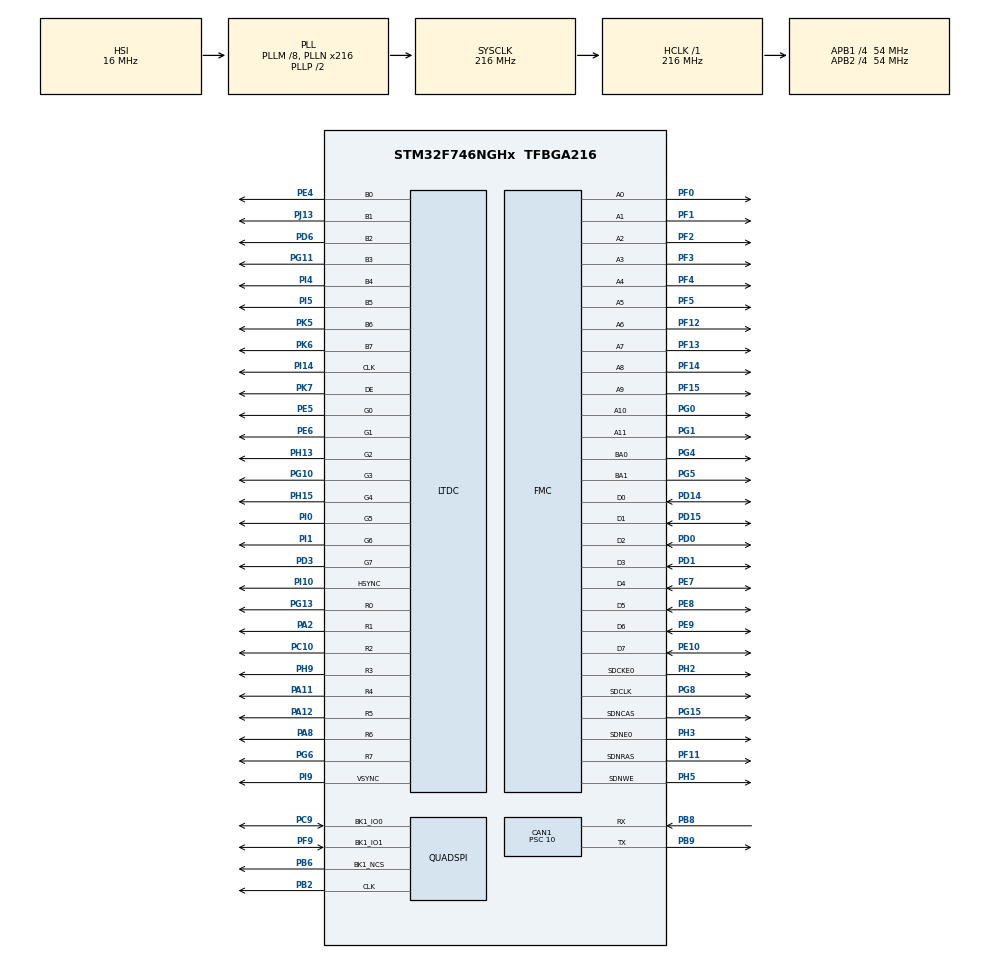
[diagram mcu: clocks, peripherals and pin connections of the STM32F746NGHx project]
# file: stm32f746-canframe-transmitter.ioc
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CAN1.BS1=CAN_BS1_8TQ
CAN1.BS2=CAN_BS2_2TQ
CAN1.CalculateTimeBit=2037
CAN1.CalculateTimeQuantum=185.1851851851852
CAN1.Prescaler=10
LTDC.ActiveH=272
LTDC.ActiveW=480
Mcu.Family=STM32F7
Mcu.Name=STM32F746NGHx
Mcu.Package=TFBGA216
NVIC.PriorityGroup=NVIC_PRIORITYGROUP_4
PA11.Mode=RGB888
PA11.Signal=LTDC_R4
PA12.Mode=RGB888
PA12.Signal=LTDC_R5
PA2.Mode=RGB888
PA2.Signal=LTDC_R1
PA8.Mode=RGB888
PA8.Signal=LTDC_R6
PB2.Mode=Single Bank 1 2IOs
PB2.Signal=QUADSPI_CLK
PB6.Mode=Single Bank 1 2IOs
PB6.Signal=QUADSPI_BK1_NCS
PB8.Mode=Master
PB8.Signal=CAN1_RX
PB9.Mode=Master
PB9.Signal=CAN1_TX
PC10.Mode=RGB888
PC10.Signal=LTDC_R2
PC9.Mode=Single Bank 1 2IOs
PC9.Signal=QUADSPI_BK1_IO0
PD0.Signal=FMC_D2_DA2
PD1.Signal=FMC_D3_DA3
PD14.Signal=FMC_D0_DA0
PD15.Signal=FMC_D1_DA1
PD3.Mode=RGB888
PD3.Signal=LTDC_G7
PD6.Mode=RGB888
PD6.Signal=LTDC_B2
PE10.Signal=FMC_D7_DA7
PE4.Mode=RGB888
PE4.Signal=LTDC_B0
PE5.Mode=RGB888
PE5.Signal=LTDC_G0
PE6.Mode=RGB888
PE6.Signal=LTDC_G1
PE7.Signal=FMC_D4_DA4
PE8.Signal=FMC_D5_DA5
PE9.Signal=FMC_D6_DA6
PF0.Signal=FMC_A0
PF1.Signal=FMC_A1
PF11.Signal=FMC_SDNRAS
PF12.Signal=FMC_A6
PF13.Signal=FMC_A7
PF14.Signal=FMC_A8
PF15.Signal=FMC_A9
PF2.Signal=FMC_A2
PF3.Signal=FMC_A3
PF4.Signal=FMC_A4
PF5.Signal=FMC_A5
PF9.Mode=Single Bank 1 2IOs
PF9.Signal=QUADSPI_BK1_IO1
PG0.Signal=FMC_A10
PG1.Signal=FMC_A11
PG10.Mode=RGB888
PG10.Signal=LTDC_G3
PG11.Mode=RGB888
PG11.Signal=LTDC_B3
PG13.Mode=RGB888
PG13.Signal=LTDC_R0
PG15.Signal=FMC_SDNCAS
PG4.Signal=FMC_A14_BA0
PG5.Signal=FMC_A15_BA1
PG6.Mode=RGB888
PG6.Signal=LTDC_R7
PG8.Signal=FMC_SDCLK
PH0/OSC_IN.Mode=HSE-External-Oscillator
PH0/OSC_IN.Signal=RCC_OSC_IN
PH1/OSC_OUT.Mode=HSE-External-Oscillator
PH1/OSC_OUT.Signal=RCC_OSC_OUT
PH13.Mode=RGB888
PH13.Signal=LTDC_G2
PH15.Mode=RGB888
PH15.Signal=LTDC_G4
PH2.Mode=SdramChipSelect1_1
PH2.Signal=FMC_SDCKE0
PH3.Mode=SdramChipSelect1_1
PH3.Signal=FMC_SDNE0
PH5.Signal=FMC_SDNWE
PH9.Mode=RGB888
PH9.Signal=LTDC_R3
PI0.Mode=RGB888
PI0.Signal=LTDC_G5
PI1.Mode=RGB888
PI1.Signal=LTDC_G6
PI10.Mode=RGB888
PI10.Signal=LTDC_HSYNC
PI14.Mode=RGB888
PI14.Signal=LTDC_CLK
PI4.Mode=RGB888
PI4.Signal=LTDC_B4
PI5.Mode=RGB888
PI5.Signal=LTDC_B5
PI9.Mode=RGB888
PI9.Signal=LTDC_VSYNC
PJ13.Mode=RGB888
PJ13.Signal=LTDC_B1
PK5.Mode=RGB888
PK5.Signal=LTDC_B6
PK6.Mode=RGB888
PK6.Signal=LTDC_B7
PK7.Mode=RGB888
PK7.Signal=LTDC_DE
ProjectManager.HeapSize=0x200
ProjectManager.StackSize=0x400
ProjectManager.TargetToolchain=TrueSTUDIO
RCC.AHBFreq_Value=216000000
RCC.APB1CLKDivider=RCC_HCLK_DIV4
RCC.APB1Freq_Value=54000000
RCC.APB1TimFreq_Value=108000000
RCC.APB2CLKDivider=RCC_HCLK_DIV4
RCC.APB2Freq_Value=54000000
RCC.APB2TimFreq_Value=108000000
RCC.CortexFreq_Value=216000000
RCC.HCLKFreq_Value=216000000
RCC.HSE_VALUE=25000000
RCC.HSI_VALUE=16000000
RCC.LSE_VALUE=32768
RCC.PLLM=8
RCC.PLLN=216
RCC.PLLQ=9
RCC.PLLSAIN=50
RCC.PLLSourceVirtual=RCC_PLLSOURCE_HSI
RCC.SDMMCClockSelection=RCC_SDMMC1CLKSOURCE_CLK48
RCC.SYSCLKFreq_VALUE=216000000
RCC.SYSCLKSource=RCC_SYSCLKSOURCE_PLLCLK
RCC.USBFreq_Value=48000000
RCC.VCOOutputFreq_Value=432000000
SH.FMC_A0.0=FMC_A0,12b-sda1
SH.FMC_A1.0=FMC_A1,12b-sda1
SH.FMC_A10.0=FMC_A10,12b-sda1
SH.FMC_A11.0=FMC_A11,12b-sda1
SH.FMC_A14_BA0.0=FMC_BA0,FourSdramBanks1
SH.FMC_A15_BA1.0=FMC_BA1,FourSdramBanks1
SH.FMC_A2.0=FMC_A2,12b-sda1
SH.FMC_A3.0=FMC_A3,12b-sda1
SH.FMC_A4.0=FMC_A4,12b-sda1
SH.FMC_A5.0=FMC_A5,12b-sda1
SH.FMC_A6.0=FMC_A6,12b-sda1
SH.FMC_A7.0=FMC_A7,12b-sda1
SH.FMC_A8.0=FMC_A8,12b-sda1
SH.FMC_A9.0=FMC_A9,12b-sda1
SH.FMC_D0_DA0.0=FMC_D0,sd-8b-d1
SH.FMC_D1_DA1.0=FMC_D1,sd-8b-d1
SH.FMC_D2_DA2.0=FMC_D2,sd-8b-d1
SH.FMC_D3_DA3.0=FMC_D3,sd-8b-d1
SH.FMC_D4_DA4.0=FMC_D4,sd-8b-d1
SH.FMC_D5_DA5.0=FMC_D5,sd-8b-d1
SH.FMC_D6_DA6.0=FMC_D6,sd-8b-d1
SH.FMC_D7_DA7.0=FMC_D7,sd-8b-d1
SH.FMC_SDCLK.0=FMC_SDCLK,12b-sda1
SH.FMC_SDNCAS.0=FMC_SDNCAS,12b-sda1
SH.FMC_SDNRAS.0=FMC_SDNRAS,12b-sda1
SH.FMC_SDNWE.0=FMC_SDNWE,12b-sda1
VP_DMA2D_VS_DMA2D.Mode=DMA2D_Activate
board=STM32F746G-DISCO

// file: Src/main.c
/**
  ******************************************************************************
  * File Name          : main.c
  * Description        : Main program body
  ******************************************************************************
  ** This notice applies to any and all portions of this file
  * that are not between comment pairs USER CODE BEGIN and
  * USER CODE END. Other portions of this file, whether
  * inserted by the user or by software development tools
  * are owned by their respective copyright owners.
  *
  * COPYRIGHT(c) 2019 STMicroelectronics
  *
  * Redistribution and use in source and binary forms, with or without modification,
  * are permitted provided that the following conditions are met:
  *   1. Redistributions of source code must retain the above copyright notice,
  *      this list of conditions and the following disclalast_transmissionr.
  *   2. Redistributions in binary form must reproduce the above copyright notice,
  *      this list of conditions and the following disclalast_transmissionr in the documentation
  *      and/or other materials provided with the distribution.
  *   3. Neither the name of STMicroelectronics nor the names of its contributors
  *      may be used to endorse or promote products derived from this software
  *      without specific prior written permission.
  *
  * THIS SOFTWARE IS PROVIDED BY THE COPYRIGHT HOLDERS AND CONTRIBUTORS "AS IS"
  * AND ANY EXPRESS OR IMPLIED WARRANTIES, INCLUDING, BUT NOT LIMITED TO, THE
  * IMPLIED WARRANTIES OF MERCHANTABILITY AND FITNESS FOR A PARTICULAR PURPOSE ARE
  * DISCLAlast_transmissionD. IN NO EVENT SHALL THE COPYRIGHT HOLDER OR CONTRIBUTORS BE LIABLE
  * FOR ANY DIRECT, INDIRECT, INCIDENTAL, SPECIAL, EXEMPLARY, OR CONSEQUENTIAL
  * DAMAGES (INCLUDING, BUT NOT LIMITED TO, PROCUREMENT OF SUBSTITUTE GOODS OR
  * SERVICES; LOSS OF USE, DATA, OR PROFITS; OR BUSINESS INTERRUPTION) HOWEVER
  * CAUSED AND ON ANY THEORY OF LIABILITY, WHETHER IN CONTRACT, STRICT LIABILITY,
  * OR TORT (INCLUDING NEGLIGENCE OR OTHERWISE) ARISING IN ANY WAY OUT OF THE USE
  * OF THIS SOFTWARE, EVEN IF ADVISED OF THE POSSIBILITY OF SUCH DAMAGE.
  *
  ******************************************************************************
  */

#include "main.h"
#include "stm32f7xx_hal.h"
#include "can.h"
#include "dma2d.h"
#include "ltdc.h"
#include "quadspi.h"
#include "gpio.h"
#include "fmc.h"

/* USER CODE BEGIN Includes */

#include "stm32746g_discovery.h"
#include "stm32746g_discovery_ts.h"
#include "stm32746g_discovery_lcd.h"
#include <string.h>
#include <stdio.h>

/* USER CODE END Includes */

/* USER CODE BEGIN PV */
/* Private variables ---------------------------------------------------------*/

static uint32_t cycle_time = 100;
static CanTxMsgTypeDef can_frame = { .StdId = 0x123, .DLC = 8 , .Data = { 0x01,0x02,0x03,0x04,0x05,0x06,0x07,0x08}};
static char text_buffer[100];
static char messages[9][100];
uint8_t transition = 0x00;
uint8_t state = 0x00;
uint32_t last_transmission = 0;

/* USER CODE END PV */

void SystemClock_Config(void);

/* USER CODE BEGIN PFP */
/* Private function prototypes -----------------------------------------------*/

void add_message(char * message)
{
	memmove(messages[0],messages[1],100);
	memmove(messages[1],messages[2],100);
	memmove(messages[2],messages[3],100);
	memmove(messages[3],messages[4],100);
	memmove(messages[4],messages[5],100);
	memmove(messages[5],messages[6],100);
	memmove(messages[6],messages[7],100);
	memmove(messages[7],messages[8],100);
	strcpy(messages[8],message);
}

/* USER CODE END PFP */

int main(void)
{

  /* USER CODE BEGIN 1 */
	 SCB->VTOR = (__IO uint32_t)0x08000000;

  /* USER CODE END 1 */

  /* MCU Configuration----------------------------------------------------------*/

  /* Reset of all peripherals, Initializes the Flash interface and the Systick. */
  HAL_Init();

  /* Configure the system clock */
  SystemClock_Config();

  /* Initialize all configured peripherals */
  MX_GPIO_Init();
  MX_DMA2D_Init();
  MX_FMC_Init();
  MX_LTDC_Init();
  MX_CAN1_Init();
  MX_QUADSPI_Init();

  /* USER CODE BEGIN 2 */

  /* Set TX message */
  hcan1.pTxMsg = &can_frame;

  /* LCD Initialization */
  BSP_LCD_Init();
  BSP_LCD_LayerDefaultInit(0, LCD_FB_START_ADDRESS);

  /* Enable the LCD */
  BSP_LCD_DisplayOn();

  /* Select the LCD Background Layer  */
  BSP_LCD_SelectLayer(0);

  /* Clear the Background Layer */
  BSP_LCD_Clear(LCD_COLOR_WHITE);

  /* Configure the transparency for background */
  BSP_LCD_SetTransparency(0, 0xFF);

  /* Initialize Touchscreen */
  BSP_TS_Init(BSP_LCD_GetXSize(), BSP_LCD_GetYSize());

  /* USER CODE END 2 */

  /* Infinite loop */
  /* USER CODE BEGIN WHILE */

  BSP_LCD_SetTextColor(LCD_COLOR_BLACK);
  BSP_LCD_SetBackColor(LCD_COLOR_WHITE);
  BSP_LCD_SetFont(&Font20);
  BSP_LCD_DisplayStringAt(0, 10,(uint8_t*)"CAN Frame Transmitter",CENTER_MODE);

  sprintf(text_buffer,"[*] - CANBus interface is initialized                             ");add_message(text_buffer);
  sprintf(text_buffer,"[*] - Configuration:                                              ");add_message(text_buffer);
  sprintf(text_buffer,"[ ] -        FrameID: 0x%03X                                      ",can_frame.StdId); add_message(text_buffer);
  sprintf(text_buffer,"[ ] -        DLC    : %d                                          ",can_frame.DLC);add_message(text_buffer);
  sprintf(text_buffer,"[ ] -        DATA   : 0x%02X 0x%02X 0x%02X 0x%02X 0x%02X 0x%02X 0x%02X 0x%02X    ",
		  can_frame.Data[0],can_frame.Data[1],can_frame.Data[2],can_frame.Data[3],can_frame.Data[4],can_frame.Data[5],can_frame.Data[6],can_frame.Data[7]);
  add_message(text_buffer);
  sprintf(text_buffer,"[ ] -        C.Tlast_transmission : %dms                                       ",cycle_time);add_message(text_buffer);
  sprintf(text_buffer,"[?] - Press the button below to start                            ");add_message(text_buffer);

  TS_StateTypeDef touch;
  uint8_t symbol_c = 0;
  BSP_TS_GetState(&touch);

  while (1)
  {
		if(transition == 0x00)
		{
			BSP_LCD_SetBackColor(LCD_COLOR_BLACK);
			BSP_LCD_SetTextColor(LCD_COLOR_BLACK);
			BSP_LCD_FillRect(BSP_LCD_GetXSize()/2-150,BSP_LCD_GetYSize()-60,300,50);
			BSP_LCD_DrawRect(BSP_LCD_GetXSize()/2-150,BSP_LCD_GetYSize()-60,300,50);
			BSP_LCD_SetFont(&Font20);
			BSP_LCD_SetBackColor(LCD_COLOR_BLACK);
			BSP_LCD_SetTextColor(LCD_COLOR_WHITE);
			BSP_LCD_DisplayStringAt(0, BSP_LCD_GetYSize()-40,(uint8_t*)"Activate",CENTER_MODE);
			transition = 0xFF;
		}
		else if(transition == 0x01)
		{
			BSP_LCD_SetBackColor(LCD_COLOR_DARKGRAY);
			BSP_LCD_SetTextColor(LCD_COLOR_DARKGRAY);
			BSP_LCD_FillRect(BSP_LCD_GetXSize()/2-150,BSP_LCD_GetYSize()-60,300,50);
			BSP_LCD_SetBackColor(LCD_COLOR_BLACK);
			BSP_LCD_SetTextColor(LCD_COLOR_BLACK);
			BSP_LCD_DrawRect(BSP_LCD_GetXSize()/2-150,BSP_LCD_GetYSize()-60,300,50);
			BSP_LCD_SetFont(&Font20);
			BSP_LCD_SetBackColor(LCD_COLOR_DARKGRAY);
			BSP_LCD_SetTextColor(LCD_COLOR_GREEN);
			BSP_LCD_DisplayStringAt(0, BSP_LCD_GetYSize()-40,(uint8_t*)"Activate",CENTER_MODE);
			transition = 0xFF;
		}
		else if(transition == 0x02)
		{
			BSP_LCD_SetBackColor(LCD_COLOR_GREEN);
			BSP_LCD_SetTextColor(LCD_COLOR_GREEN);
			BSP_LCD_FillRect(BSP_LCD_GetXSize()/2-150,BSP_LCD_GetYSize()-60,300,50);
			BSP_LCD_SetBackColor(LCD_COLOR_BLACK);
			BSP_LCD_SetTextColor(LCD_COLOR_BLACK);
			BSP_LCD_DrawRect(BSP_LCD_GetXSize()/2-150,BSP_LCD_GetYSize()-60,300,50);
			BSP_LCD_SetFont(&Font20);
			BSP_LCD_SetBackColor(LCD_COLOR_GREEN);
			BSP_LCD_SetTextColor(LCD_COLOR_BLACK);
			BSP_LCD_DisplayStringAt(0, BSP_LCD_GetYSize()-40,(uint8_t*)"Deactivate",CENTER_MODE);
			transition = 0xFF;
		}
		else if(transition == 0x03)
		{
			BSP_LCD_SetBackColor(0xFF00CC00);
			BSP_LCD_SetTextColor(0xFF00CC00);
			BSP_LCD_FillRect(BSP_LCD_GetXSize()/2-150,BSP_LCD_GetYSize()-60,300,50);
			BSP_LCD_SetBackColor(LCD_COLOR_BLACK);
			BSP_LCD_SetTextColor(LCD_COLOR_BLACK);
			BSP_LCD_DrawRect(BSP_LCD_GetXSize()/2-150,BSP_LCD_GetYSize()-60,300,50);
			BSP_LCD_SetFont(&Font20);
			BSP_LCD_SetBackColor(0xFF00CC00);
			BSP_LCD_SetTextColor(LCD_COLOR_BLACK);
			BSP_LCD_DisplayStringAt(0, BSP_LCD_GetYSize()-40,(uint8_t*)"Deactivate",CENTER_MODE);
			transition = 0xFF;
		}

		BSP_TS_GetState(&touch);

		if(touch.touchDetected == 1)
		{
			if(touch.touchX[0] > (BSP_LCD_GetXSize()/2-150) && touch.touchX[0] < (BSP_LCD_GetXSize()/2+150)
			&& touch.touchY[0] > (BSP_LCD_GetYSize()-60) && touch.touchY[0] < (BSP_LCD_GetYSize()-10)
			)
			{
				if(transition == 0xff && state == 0x00)
				{
					if(state != 0x01)
					{
								state = 0x01;
								transition = 0x01;
								add_message("[*] - Activating CAN frame transmission                          ");
							}
						}
						if(transition == 0xff && state== 0x02)
						{
							if(state != 0x03)
							{
								state = 0x03;
								transition = 0x03;

								add_message("[*] - Deactivating CAN frame transmission                        ");
							}
						}
					}
				}
				else
				{
					if(transition == 0xff && state == 0x01)
					{
						transition = 0x02;
						state=0x02;
						add_message("[*] - Completed                                                  ");
					}

					if(transition == 0xff && state == 0x03)
					{
						transition = 0x00;
						state=0x00;
						add_message("[*] - Completed                                                  ");
					}
				}

				if(transition == 0xff )
				{
					BSP_LCD_SetFont(&Font12);
					BSP_LCD_SetBackColor(LCD_COLOR_WHITE);
					BSP_LCD_SetTextColor(LCD_COLOR_BLACK);
					for(int i=0;i<9;i++)
					{
						if(strstr(messages[i],"Error") != NULL)
						{
							BSP_LCD_SetFont(&Font12);
							BSP_LCD_SetBackColor(LCD_COLOR_RED);
							BSP_LCD_SetTextColor(LCD_COLOR_BLACK);
						}
						else
						{
							BSP_LCD_SetFont(&Font12);
							BSP_LCD_SetBackColor(LCD_COLOR_WHITE);
							BSP_LCD_SetTextColor(LCD_COLOR_BLACK);
						}
						BSP_LCD_DisplayStringAt(0,25+19+(18*i) ,messages[i],LEFT_MODE);
					}
				}

				if(transition == 0xff && state == 0x02 && last_transmission < HAL_GetTick())
				{
					last_transmission = HAL_GetTick() + (cycle_time - 4);
					if(HAL_CAN_Transmit(&hcan1,100) ==HAL_OK)
					{
						switch(symbol_c)
						{
						case 0:
							add_message("[-] - Transmission OK                                             ");
							break;
						case 1:
							add_message("[\\] - Transmission OK                                             ");
							break;
						case 2:
							add_message("[-] - Transmission OK                                             ");
							break;
						case 3:
							add_message("[/] - Transmission OK                                             ");
							break;

						}
						symbol_c = symbol_c == 3 ? 0: symbol_c+1;
					}
					else
					{
						switch(symbol_c)
						{
						case 0:
							add_message("[-] - Transmission Error                                         ");
							break;
						case 1:
							add_message("[/] - Transmission Error                                         ");
							break;
						case 2:
							add_message("[-] - Transmission Error                                         ");
							break;
						case 3:
							add_message("[\\] - Transmission Error                                         ");
							break;

						}
						symbol_c = symbol_c == 3 ? 0: symbol_c+1;
					}
				}

  /* USER CODE END WHILE */

  }

}

/** System Clock Configuration
*/
void SystemClock_Config(void)
{

  RCC_OscInitTypeDef RCC_OscInitStruct;
  RCC_ClkInitTypeDef RCC_ClkInitStruct;
  RCC_PeriphCLKInitTypeDef PeriphClkInitStruct;

    /**Configure the main internal regulator output voltage
    */
  __HAL_RCC_PWR_CLK_ENABLE();

  __HAL_PWR_VOLTAGESCALING_CONFIG(PWR_REGULATOR_VOLTAGE_SCALE1);

    /**Initializes the CPU, AHB and APB busses clocks
    */
  RCC_OscInitStruct.OscillatorType = RCC_OSCILLATORTYPE_HSI;
  RCC_OscInitStruct.HSIState = RCC_HSI_ON;
  RCC_OscInitStruct.HSICalibrationValue = 16;
  RCC_OscInitStruct.PLL.PLLState = RCC_PLL_ON;
  RCC_OscInitStruct.PLL.PLLSource = RCC_PLLSOURCE_HSI;
  RCC_OscInitStruct.PLL.PLLM = 8;
  RCC_OscInitStruct.PLL.PLLN = 216;
  RCC_OscInitStruct.PLL.PLLP = RCC_PLLP_DIV2;
  RCC_OscInitStruct.PLL.PLLQ = 9;
  if (HAL_RCC_OscConfig(&RCC_OscInitStruct) != HAL_OK)
  {
    _Error_Handler(__FILE__, __LINE__);
  }

    /**Activate the Over-Drive mode
    */
  if (HAL_PWREx_EnableOverDrive() != HAL_OK)
  {
    _Error_Handler(__FILE__, __LINE__);
  }

    /**Initializes the CPU, AHB and APB busses clocks
    */
  RCC_ClkInitStruct.ClockType = RCC_CLOCKTYPE_HCLK|RCC_CLOCKTYPE_SYSCLK
                              |RCC_CLOCKTYPE_PCLK1|RCC_CLOCKTYPE_PCLK2;
  RCC_ClkInitStruct.SYSCLKSource = RCC_SYSCLKSOURCE_PLLCLK;
  RCC_ClkInitStruct.AHBCLKDivider = RCC_SYSCLK_DIV1;
  RCC_ClkInitStruct.APB1CLKDivider = RCC_HCLK_DIV4;
  RCC_ClkInitStruct.APB2CLKDivider = RCC_HCLK_DIV4;

  if (HAL_RCC_ClockConfig(&RCC_ClkInitStruct, FLASH_LATENCY_7) != HAL_OK)
  {
    _Error_Handler(__FILE__, __LINE__);
  }

  PeriphClkInitStruct.PeriphClockSelection = RCC_PERIPHCLK_LTDC;
  PeriphClkInitStruct.PLLSAI.PLLSAIN = 50;
  PeriphClkInitStruct.PLLSAI.PLLSAIR = 2;
  PeriphClkInitStruct.PLLSAI.PLLSAIQ = 2;
  PeriphClkInitStruct.PLLSAI.PLLSAIP = RCC_PLLSAIP_DIV2;
  PeriphClkInitStruct.PLLSAIDivQ = 1;
  PeriphClkInitStruct.PLLSAIDivR = RCC_PLLSAIDIVR_2;
  if (HAL_RCCEx_PeriphCLKConfig(&PeriphClkInitStruct) != HAL_OK)
  {
    _Error_Handler(__FILE__, __LINE__);
  }

    /**Configure the Systick interrupt tlast_transmission
    */
  HAL_SYSTICK_Config(HAL_RCC_GetHCLKFreq()/1000);

    /**Configure the Systick
    */
  HAL_SYSTICK_CLKSourceConfig(SYSTICK_CLKSOURCE_HCLK);

  /* SysTick_IRQn interrupt configuration */
  HAL_NVIC_SetPriority(SysTick_IRQn, 0, 0);
}

void _Error_Handler(char * file, int line)
{
  while(1)
  {
  }
}

/************************ (C) COPYRIGHT STMicroelectronics *****END OF FILE****/
